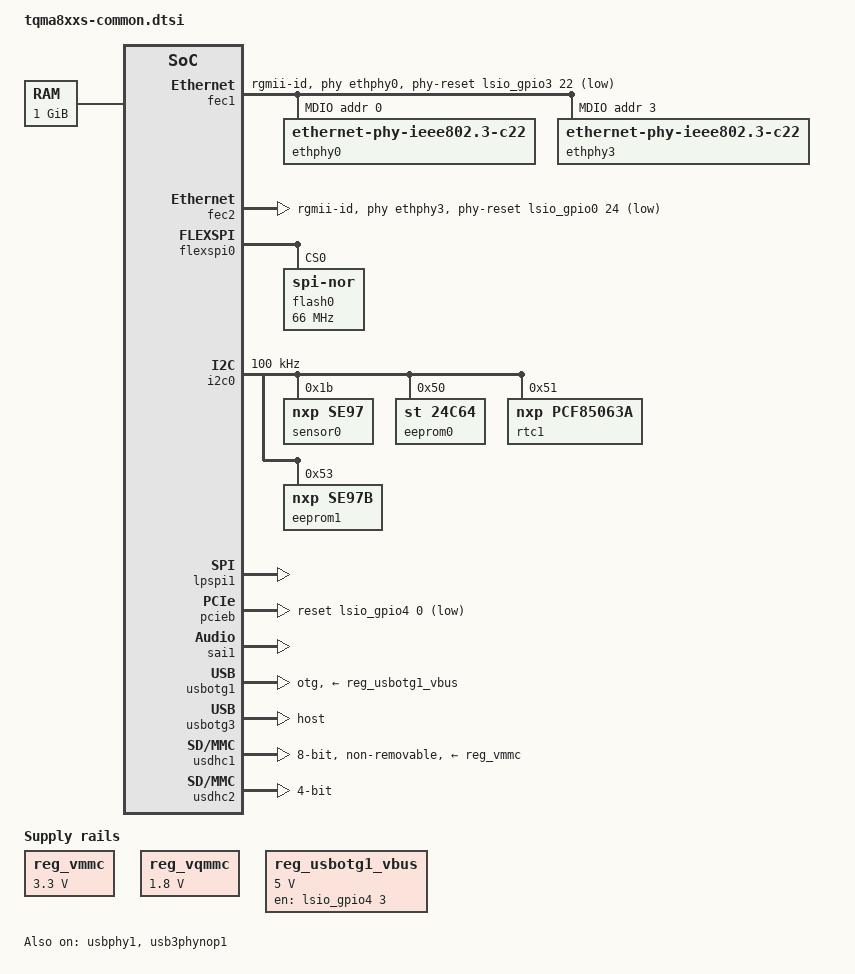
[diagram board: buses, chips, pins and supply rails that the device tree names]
// SPDX-License-Identifier: (GPL-2.0-or-later OR MIT)
/*
 * Copyright 2018-2020 TQ-Systems GmbH
 */

/ {
	backlight_lvds0: backlight-lvds0 {
		compatible = "pwm-backlight";
		pinctrl-names = "default";
		pinctrl-0 = <&pinctrl_backlight_lvds0>;
		pwms = <&pwm_mipi_lvds0 0 100000 0>;
		enable-gpios = <&lsio_gpio1 2 GPIO_ACTIVE_HIGH>;
		status = "disabled";
	};

	backlight_lvds1: backlight-lvds1 {
		compatible = "pwm-backlight";
		pinctrl-names = "default";
		pinctrl-0 = <&pinctrl_backlight_lvds1>;
		pwms = <&pwm_mipi_lvds1 0 100000 0>;
		enable-gpios = <&lsio_gpio1 0 GPIO_ACTIVE_HIGH>;
		status = "disabled";
	};

	panel_lvds0: panel-lvds0 {
		pinctrl-names = "default";
		pinctrl-0 = <&pinctrl_lbdpanel0>;
		backlight = <&backlight_lvds0>;
		enable-gpios = <&lsio_gpio1 3 0>;
		status = "disabled";
	};

	panel_lvds1: panel-lvds1 {
		pinctrl-names = "default";
		pinctrl-0 = <&pinctrl_lbdpanel1>;
		backlight = <&backlight_lvds1>;
		enable-gpios = <&lsio_gpio1 1 0>;
		status = "disabled";
	};

	reg_sdvmmc: regulator-sdvmmc {
		compatible = "regulator-fixed";
		pinctrl-names = "default";
		pinctrl-0 = <&pinctrl_sdvmmc>;
		regulator-name = "SD1_VMMC";
		regulator-min-microvolt = <3300000>;
		regulator-max-microvolt = <3300000>;
		gpio = <&lsio_gpio4 19 GPIO_ACTIVE_HIGH>;
		enable-active-high;
		status = "disabled";
	};

	reg_vmmc: regulator-vmmc {
		compatible = "regulator-fixed";
		regulator-name = "MMC0_3V3";
		regulator-min-microvolt = <3300000>;
		regulator-max-microvolt = <3300000>;
		regulator-always-on;
	};

	reg_vqmmc: regulator-vqmmc {
		compatible = "regulator-fixed";
		regulator-name = "MMC0_1V8";
		regulator-min-microvolt = <1800000>;
		regulator-max-microvolt = <1800000>;
		regulator-always-on;
	};

	reg_usbotg1_vbus: regulator-usbotg1-vbus {
		compatible = "regulator-fixed";
		regulator-name = "USBOTG1_VBUS";
		pinctrl-names = "default";
		pinctrl-0 = <&pinctrl_reg_usbotg1_vbus>;
		regulator-min-microvolt = <5000000>;
		regulator-max-microvolt = <5000000>;
		gpio = <&lsio_gpio4 3 GPIO_ACTIVE_HIGH>;
		enable-active-high;
	};

	memory@80000000 {
		device_type = "memory";
		/*
		 * DRAM base addr, size : 1024 MiB DRAM
		 * should be corrected by bootloader
		 */
		reg = <0x00000000 0x80000000 0 0x40000000>;
	};

	reserved-memory {
		#address-cells = <2>;
		#size-cells = <2>;
		ranges;

		/*
		 * global autoconfigured region for contiguous allocations
		 * must not exceed memory size and region
		 */
		linux,cma {
			compatible = "shared-dma-pool";
			reusable;
			size = <0 0x20000000>;
			alloc-ranges = <0 0x96000000 0 0x30000000>;
			linux,cma-default;
		};
	};

};

&cpu_alert0 {
	temperature = <95000>;
};

&cpu_crit0 {
	temperature = <100000>;
};

&fec1 {
	pinctrl-names = "default";
	pinctrl-0 = <&pinctrl_fec1>;
	phy-mode = "rgmii-id";
	phy-handle = <&ethphy0>;
	phy-reset-gpios = <&lsio_gpio3 22 GPIO_ACTIVE_LOW>;
	phy-reset-duration = <500>;
	fsl,magic-packet;
	mac-address = [ 00 00 00 00 00 00 ];

	mdio {
		#address-cells = <1>;
		#size-cells = <0>;

		ethphy0: ethernet-phy@0 {
			compatible = "ethernet-phy-ieee802.3-c22";
			reg = <0>;
			ti,rx-internal-delay = <DP83867_RGMIIDCTL_2_50_NS>;
			ti,tx-internal-delay = <DP83867_RGMIIDCTL_2_50_NS>;
			ti,fifo-depth = <DP83867_PHYCR_FIFO_DEPTH_4_B_NIB>;
			ti,dp83867-rxctrl-strap-quirk;
			ti,clk-output-sel = <DP83867_CLK_O_SEL_OFF>;
			enet-phy-lane-no-swap;
		};

		ethphy3: ethernet-phy@3 {
			compatible = "ethernet-phy-ieee802.3-c22";
			reg = <3>;
			ti,rx-internal-delay = <DP83867_RGMIIDCTL_2_50_NS>;
			ti,tx-internal-delay = <DP83867_RGMIIDCTL_2_50_NS>;
			ti,fifo-depth = <DP83867_PHYCR_FIFO_DEPTH_4_B_NIB>;
			ti,dp83867-rxctrl-strap-quirk;
			ti,clk-output-sel = <DP83867_CLK_O_SEL_OFF>;
			enet-phy-lane-no-swap;
		};
	};
};

&fec2 {
	pinctrl-names = "default";
	pinctrl-0 = <&pinctrl_fec2>;
	phy-mode = "rgmii-id";
	phy-handle = <&ethphy3>;
	fsl,magic-packet;
	phy-reset-gpios = <&lsio_gpio0 24 GPIO_ACTIVE_LOW>;
	phy-reset-duration = <500>;
	mac-address = [ 00 00 00 00 00 00 ];
};

/* CPU device tree mixes up counting from 0 and counting from 1 */
&flexcan2 {
	pinctrl-names = "default";
	pinctrl-0 = <&pinctrl_can1>;
};

&flexcan3 {
	pinctrl-names = "default";
	pinctrl-0 = <&pinctrl_can2>;
};

&flexspi0 {
	pinctrl-names = "default";
	pinctrl-0 = <&pinctrl_flexspi0>;
	status = "okay";
	fsl,qspi-skip-dll-config;

	flash0: flash@0 {
		reg = <0>;
		#address-cells = <1>;
		#size-cells = <1>;
		compatible = "jedec,spi-nor";
/* TODO: try increase. n.b: MEK doesn't have spi-nor,ddr-quad-read-dummy */
/*		spi-max-frequency = <133000000>; */
		spi-max-frequency = <66000000>;
		spi-nor,ddr-quad-read-dummy = <8>;
		spi-tx-bus-width = <4>;
		spi-rx-bus-width = <4>;
		/* used for macronix flash only */
		macronix,dsr = <0x3>;
	};
};

&lsio_gpio0 {
	pinctrl-names = "default";
	pinctrl-0 = <&pinctrl_smarc_fangpio>;

	gpio-line-names = "", "", "", "",
			  "", "", "", "",
			  "", "", "", "",
			  "", "", "", "",
			  "", "", "", "",
			  "", "SMARC GPIO6", "SMARC GPIO5", "",
			  "", "", "", "",
			  "", "", "", "";
};

&lsio_gpio1 {
	pinctrl-names = "default";
	pinctrl-0 = <&pinctrl_smarc_gpio>;

	gpio-line-names = "", "", "", "",
			  "SMARC GPIO0", "SMARC GPIO1", "SMARC GPIO2", "",
			  "SMARC GPIO3", "SMARC GPIO8", "SMARC GPIO7", "SMARC GPIO10",
			  "SMARC GPIO9", "SMARC GPIO4", "", "",
			  "", "", "", "",
			  "", "", "", "",
			  "", "", "", "",
			  "", "", "", "";
};

&i2c0 {
	#address-cells = <1>;
	#size-cells = <0>;
	clock-frequency = <100000>;
	pinctrl-names = "default";
	pinctrl-0 = <&pinctrl_lpi2c0>;
	status = "okay";

	/* NXP SE97BTP with temperature sensor + eeprom */
	sensor0: tempsensor@1b {
		compatible = "nxp,se97", "jedec,jc-42.4-temp";
		reg = <0x1b>;
		status = "okay";
	};

	eeprom0: eeprom@50 {
		compatible = "st,24c64", "atmel,24c64";
		reg = <0x50>;
		pagesize = <32>;
		status = "okay";
	};

	rtc1: rtc@51 {
		compatible = "nxp,pcf85063a";
		reg = <0x51>;
	};

	eeprom1: eeprom@53 {
		compatible = "nxp,se97b", "atmel,24c02";
		reg = <0x53>;
		pagesize = <16>;
		status = "okay";
	};
};

&iomuxc {
	pinctrl-names = "default";
	pinctrl-0 = <&pinctrl_hog>;

	pinctrl_backlight_lvds0: backlight_lvds0_grp {
		fsl,pins = <
			IMX8QXP_SPI2_SDI_LSIO_GPIO1_IO02	0x00000021
		>;
	};

	pinctrl_backlight_lvds1: backlight_lvds1_grp {
		fsl,pins = <
			IMX8QXP_SPI2_CS0_LSIO_GPIO1_IO00	0x00000021
		>;
	};

	pinctrl_can1: can1grp {
		fsl,pins = <
			IMX8QXP_UART2_RX_ADMA_FLEXCAN1_RX	0x00000020
			IMX8QXP_UART2_TX_ADMA_FLEXCAN1_TX	0x00000021
		>;
	};

	pinctrl_can2: can2grp {
		fsl,pins = <
			IMX8QXP_FLEXCAN2_TX_ADMA_FLEXCAN2_TX	0x00000020
			IMX8QXP_FLEXCAN2_RX_ADMA_FLEXCAN2_RX	0x00000021
		>;
	};

	pinctrl_fec1: fec1grp {
		fsl,pins = <
			IMX8QXP_COMP_CTL_GPIO_1V8_3V3_ENET_ENETB0_PAD		0x000014a0

			IMX8QXP_ENET0_MDC_CONN_ENET0_MDC			0x06000041
			IMX8QXP_ENET0_MDIO_CONN_ENET0_MDIO			0x06000041
			IMX8QXP_ENET0_RGMII_TX_CTL_CONN_ENET0_RGMII_TX_CTL	0x00000040
			IMX8QXP_ENET0_RGMII_TXC_CONN_ENET0_RGMII_TXC		0x00000040
			IMX8QXP_ENET0_RGMII_TXD0_CONN_ENET0_RGMII_TXD0		0x00000040
			IMX8QXP_ENET0_RGMII_TXD1_CONN_ENET0_RGMII_TXD1		0x00000040
			IMX8QXP_ENET0_RGMII_TXD2_CONN_ENET0_RGMII_TXD2		0x00000040
			IMX8QXP_ENET0_RGMII_TXD3_CONN_ENET0_RGMII_TXD3		0x00000040
			IMX8QXP_ENET0_RGMII_RXC_CONN_ENET0_RGMII_RXC		0x00000040
			IMX8QXP_ENET0_RGMII_RX_CTL_CONN_ENET0_RGMII_RX_CTL	0x00000040
			IMX8QXP_ENET0_RGMII_RXD0_CONN_ENET0_RGMII_RXD0		0x00000040
			IMX8QXP_ENET0_RGMII_RXD1_CONN_ENET0_RGMII_RXD1		0x00000040
			IMX8QXP_ENET0_RGMII_RXD2_CONN_ENET0_RGMII_RXD2		0x00000040
			IMX8QXP_ENET0_RGMII_RXD3_CONN_ENET0_RGMII_RXD3		0x00000040

			IMX8QXP_QSPI0B_DQS_LSIO_GPIO3_IO22			0x00000040
		>;
	};

	pinctrl_fec2: fec2grp {
		fsl,pins = <
			IMX8QXP_COMP_CTL_GPIO_1V8_3V3_ENET_ENETB1_PAD	0x000014a0

			IMX8QXP_ESAI0_SCKR_CONN_ENET1_RGMII_TX_CTL	0x00000040
			IMX8QXP_ESAI0_FSR_CONN_ENET1_RGMII_TXC		0x00000040
			IMX8QXP_ESAI0_TX4_RX1_CONN_ENET1_RGMII_TXD0	0x00000040
			IMX8QXP_ESAI0_TX5_RX0_CONN_ENET1_RGMII_TXD1	0x00000040
			IMX8QXP_ESAI0_FST_CONN_ENET1_RGMII_TXD2		0x00000040
			IMX8QXP_ESAI0_SCKT_CONN_ENET1_RGMII_TXD3	0x00000040
			IMX8QXP_ESAI0_TX0_CONN_ENET1_RGMII_RXC		0x00000040
			IMX8QXP_SPDIF0_TX_CONN_ENET1_RGMII_RX_CTL	0x00000040
			IMX8QXP_SPDIF0_RX_CONN_ENET1_RGMII_RXD0		0x00000040
			IMX8QXP_ESAI0_TX3_RX2_CONN_ENET1_RGMII_RXD1	0x00000040
			IMX8QXP_ESAI0_TX2_RX3_CONN_ENET1_RGMII_RXD2	0x00000040
			IMX8QXP_ESAI0_TX1_CONN_ENET1_RGMII_RXD3		0x00000040

			IMX8QXP_UART1_CTS_B_LSIO_GPIO0_IO24		0x00000040
		>;
	};

	pinctrl_flexspi0: flexspi0grp {
		fsl,pins = <
			IMX8QXP_QSPI0A_DATA0_LSIO_QSPI0A_DATA0	0x0000004d
			IMX8QXP_QSPI0A_DATA1_LSIO_QSPI0A_DATA1	0x0000004d
			IMX8QXP_QSPI0A_DATA2_LSIO_QSPI0A_DATA2	0x0000004d
			IMX8QXP_QSPI0A_DATA3_LSIO_QSPI0A_DATA3	0x0000004d
			IMX8QXP_QSPI0A_DQS_LSIO_QSPI0A_DQS	0x0000004d
			IMX8QXP_QSPI0A_SS0_B_LSIO_QSPI0A_SS0_B	0x0000004d
			IMX8QXP_QSPI0A_SCLK_LSIO_QSPI0A_SCLK	0x0000004d
			IMX8QXP_QSPI0B_SCLK_LSIO_QSPI0B_SCLK	0x0000004d
			IMX8QXP_QSPI0B_DATA0_LSIO_QSPI0B_DATA0	0x0000004d
			IMX8QXP_QSPI0B_DATA1_LSIO_QSPI0B_DATA1	0x0000004d
			IMX8QXP_QSPI0B_DATA2_LSIO_QSPI0B_DATA2	0x0000004d
			IMX8QXP_QSPI0B_DATA3_LSIO_QSPI0B_DATA3	0x0000004d
			IMX8QXP_QSPI0B_SS0_B_LSIO_QSPI0B_SS0_B	0x0000004d
			IMX8QXP_QSPI0B_SS1_B_LSIO_QSPI0B_SS1_B	0x0000004d
		>;
	};

	pinctrl_smarc_gpio: smarcgpiogrp {
		fsl,pins = <
			/* SMARC GPIO0 / CAM0_PWR# */
			IMX8QXP_SPI0_SCK_LSIO_GPIO1_IO04	0x00000021
			/* SMARC GPIO1 / CAM1_PWR# */
			IMX8QXP_SPI0_SDI_LSIO_GPIO1_IO05	0x00000021
			/* SMARC GPIO2 / CAM0_RST# */
			IMX8QXP_SPI0_SDO_LSIO_GPIO1_IO06	0x00000021
			/* SMARC GPIO3 / CAM1_RST# */
			IMX8QXP_SPI0_CS0_LSIO_GPIO1_IO08	0x00000021
			/* SMARC GPIO4 / HDA_RST# */
			IMX8QXP_ADC_IN5_LSIO_GPIO1_IO13		0x00000021
			/* SMARC GPIO7 */
			IMX8QXP_ADC_IN0_LSIO_GPIO1_IO10		0x00000021
			/* SMARC GPIO8 */
			IMX8QXP_ADC_IN1_LSIO_GPIO1_IO09		0x00000021
			/* SMARC GPIO9 */
			IMX8QXP_ADC_IN2_LSIO_GPIO1_IO12		0x00000021
			/* SMARC GPIO10 */
			IMX8QXP_ADC_IN3_LSIO_GPIO1_IO11		0x00000021
		>;
	};

	pinctrl_smarc_fangpio: smarcfangpiogrp {
		fsl,pins = <
			/* SMARC GPIO5 */
			IMX8QXP_UART1_RX_LSIO_GPIO0_IO22	0x00000021
			/* SMARC GPIO6 */
			IMX8QXP_UART1_TX_LSIO_GPIO0_IO21	0x00000021
		>;
	};

	pinctrl_hog: tqma8xxshoggrp {
		fsl,pins = <
			/* AUDIO MCLK*/
			IMX8QXP_MCLK_OUT0_ADMA_ACM_MCLK_OUT0	0x06000040
		>;
	};

	pinctrl_lbdpanel0: lbdpanel0grp {
		fsl,pins = <
			/* LCD PWR */
			IMX8QXP_SPI2_SCK_LSIO_GPIO1_IO03	0x00000021
		>;
	};

	pinctrl_lbdpanel1: lbdpanel1grp {
		fsl,pins = <
			/* LCD PWR */
			IMX8QXP_SPI2_SDO_LSIO_GPIO1_IO01	0x00000021
		>;
	};

	pinctrl_lpi2c0: lpi2c0grp {
		fsl,pins = <
			IMX8QXP_MIPI_DSI1_I2C0_SCL_MIPI_DSI1_I2C0_SCL	0x06000021
			IMX8QXP_MIPI_DSI1_I2C0_SDA_MIPI_DSI1_I2C0_SDA	0x06000021
		>;
	};

	pinctrl_lpuart0: lpuart0grp {
		fsl,pins = <
			IMX8QXP_UART0_RX_ADMA_UART0_RX			0x06000020
			IMX8QXP_UART0_TX_ADMA_UART0_TX			0x06000020
		>;
	};

	pinctrl_pcieb: pcieagrp{
		fsl,pins = <
			IMX8QXP_PCIE_CTRL0_PERST_B_LSIO_GPIO4_IO00	0x06000041
			IMX8QXP_PCIE_CTRL0_CLKREQ_B_LSIO_GPIO4_IO01	0x06000041
			IMX8QXP_PCIE_CTRL0_WAKE_B_LSIO_GPIO4_IO02	0x04000041
		>;
	};

	pinctrl_pwm_mipi_lvds0: mipi_lvds0_pwm_grp {
		fsl,pins = <
			IMX8QXP_MIPI_DSI0_GPIO0_00_MIPI_DSI0_PWM0_OUT	0x00000021
		>;
	};

	pinctrl_pwm_mipi_lvds1: mipi_lvds1_pwm_grp {
		fsl,pins = <
			IMX8QXP_MIPI_DSI1_GPIO0_00_MIPI_DSI1_PWM0_OUT	0x00000021
		>;
	};

	pinctrl_usdhc1: usdhc1grp {
		fsl,pins = <
			IMX8QXP_EMMC0_CLK_CONN_EMMC0_CLK	0x06000040
			IMX8QXP_EMMC0_CMD_CONN_EMMC0_CMD	0x00000020
			IMX8QXP_EMMC0_DATA0_CONN_EMMC0_DATA0	0x00000020
			IMX8QXP_EMMC0_DATA1_CONN_EMMC0_DATA1	0x00000020
			IMX8QXP_EMMC0_DATA2_CONN_EMMC0_DATA2	0x00000020
			IMX8QXP_EMMC0_DATA3_CONN_EMMC0_DATA3	0x00000020
			IMX8QXP_EMMC0_DATA4_CONN_EMMC0_DATA4	0x00000020
			IMX8QXP_EMMC0_DATA5_CONN_EMMC0_DATA5	0x00000020
			IMX8QXP_EMMC0_DATA6_CONN_EMMC0_DATA6	0x00000020
			IMX8QXP_EMMC0_DATA7_CONN_EMMC0_DATA7	0x00000020
			IMX8QXP_EMMC0_STROBE_CONN_EMMC0_STROBE	0x00000040
		>;
	};

	pinctrl_usdhc1_100mhz: usdhc1grp100mhz {
		fsl,pins = <
			IMX8QXP_EMMC0_CLK_CONN_EMMC0_CLK	0x06000041
			IMX8QXP_EMMC0_CMD_CONN_EMMC0_CMD	0x00000021
			IMX8QXP_EMMC0_DATA0_CONN_EMMC0_DATA0	0x00000021
			IMX8QXP_EMMC0_DATA1_CONN_EMMC0_DATA1	0x00000021
			IMX8QXP_EMMC0_DATA2_CONN_EMMC0_DATA2	0x00000021
			IMX8QXP_EMMC0_DATA3_CONN_EMMC0_DATA3	0x00000021
			IMX8QXP_EMMC0_DATA4_CONN_EMMC0_DATA4	0x00000021
			IMX8QXP_EMMC0_DATA5_CONN_EMMC0_DATA5	0x00000021
			IMX8QXP_EMMC0_DATA6_CONN_EMMC0_DATA6	0x00000021
			IMX8QXP_EMMC0_DATA7_CONN_EMMC0_DATA7	0x00000021
			IMX8QXP_EMMC0_STROBE_CONN_EMMC0_STROBE	0x00000041
		>;
	};

	pinctrl_usdhc1_200mhz: usdhc1grp200mhz {
		fsl,pins = <
			IMX8QXP_EMMC0_CLK_CONN_EMMC0_CLK	0x06000041
			IMX8QXP_EMMC0_CMD_CONN_EMMC0_CMD	0x00000021
			IMX8QXP_EMMC0_DATA0_CONN_EMMC0_DATA0	0x00000021
			IMX8QXP_EMMC0_DATA1_CONN_EMMC0_DATA1	0x00000021
			IMX8QXP_EMMC0_DATA2_CONN_EMMC0_DATA2	0x00000021
			IMX8QXP_EMMC0_DATA3_CONN_EMMC0_DATA3	0x00000021
			IMX8QXP_EMMC0_DATA4_CONN_EMMC0_DATA4	0x00000021
			IMX8QXP_EMMC0_DATA5_CONN_EMMC0_DATA5	0x00000021
			IMX8QXP_EMMC0_DATA6_CONN_EMMC0_DATA6	0x00000021
			IMX8QXP_EMMC0_DATA7_CONN_EMMC0_DATA7	0x00000021
			IMX8QXP_EMMC0_STROBE_CONN_EMMC0_STROBE	0x00000041
		>;
	};

	pinctrl_sdvmmc: sdvmmcgrp {
		fsl,pins = <
			IMX8QXP_USDHC1_RESET_B_LSIO_GPIO4_IO19		0x00000021
		>;
	};

	pinctrl_reg_usbotg1_vbus: regusbotg1vbusgrp {
		fsl,pins = <
			IMX8QXP_USB_SS3_TC0_LSIO_GPIO4_IO03		0x00000021
		>;
	};

	pinctrl_spi1: spi1grp {
		fsl,pins = <
			/* PU + PDRV Low + INOUT - MEK has 0x0600004c */
			IMX8QXP_SAI0_RXD_ADMA_SPI1_CS0			0x06000041
			IMX8QXP_SAI1_RXD_ADMA_SPI1_CS1			0x06000041
			IMX8QXP_SAI0_TXC_ADMA_SPI1_SDI			0x06000041
			IMX8QXP_SAI0_TXD_ADMA_SPI1_SDO			0x06000041
			IMX8QXP_SAI0_TXFS_ADMA_SPI1_SCK			0x06000041
		>;
	};

	pinctrl_sai1: sai1grp {
		fsl,pins = <
			IMX8QXP_SAI1_RXC_ADMA_SAI1_TXC			0x06000040
			IMX8QXP_SAI1_RXFS_ADMA_SAI1_TXFS		0x06000040
			IMX8QXP_FLEXCAN1_RX_ADMA_SAI1_TXD		0x06000040
			IMX8QXP_FLEXCAN1_TX_ADMA_SAI1_RXD		0x06000040
		>;
	};

	pinctrl_usbotg1: usbotg1grp {
		fsl,pins = <
			IMX8QXP_USB_SS3_TC2_CONN_USB_OTG1_OC		0x00000021
		>;
	};

	pinctrl_usdhc2_gpio: usdhc2gpiogrp {
		fsl,pins = <
			IMX8QXP_USDHC1_WP_LSIO_GPIO4_IO21		0x00000021
			IMX8QXP_USDHC1_CD_B_LSIO_GPIO4_IO22		0x00000021
		>;
	};

	pinctrl_usdhc2: usdhc2grp {
		fsl,pins = <
			IMX8QXP_USDHC1_CLK_CONN_USDHC1_CLK		0x06000041
			IMX8QXP_USDHC1_CMD_CONN_USDHC1_CMD		0x00000021
			IMX8QXP_USDHC1_DATA0_CONN_USDHC1_DATA0		0x00000021
			IMX8QXP_USDHC1_DATA1_CONN_USDHC1_DATA1		0x00000021
			IMX8QXP_USDHC1_DATA2_CONN_USDHC1_DATA2		0x00000021
			IMX8QXP_USDHC1_DATA3_CONN_USDHC1_DATA3		0x00000021
			IMX8QXP_USDHC1_VSELECT_CONN_USDHC1_VSELECT	0x00000021
		>;
	};

	pinctrl_usdhc2_100mhz: usdhc2grp100mhz {
		fsl,pins = <
			IMX8QXP_USDHC1_CLK_CONN_USDHC1_CLK		0x06000040
			IMX8QXP_USDHC1_CMD_CONN_USDHC1_CMD		0x00000020
			IMX8QXP_USDHC1_DATA0_CONN_USDHC1_DATA0		0x00000020
			IMX8QXP_USDHC1_DATA1_CONN_USDHC1_DATA1		0x00000020
			IMX8QXP_USDHC1_DATA2_CONN_USDHC1_DATA2		0x00000020
			IMX8QXP_USDHC1_DATA3_CONN_USDHC1_DATA3		0x00000020
			IMX8QXP_USDHC1_VSELECT_CONN_USDHC1_VSELECT	0x00000020
		>;
	};

	pinctrl_usdhc2_200mhz: usdhc2grp200mhz {
		fsl,pins = <
			IMX8QXP_USDHC1_CLK_CONN_USDHC1_CLK		0x06000040
			IMX8QXP_USDHC1_CMD_CONN_USDHC1_CMD		0x00000020
			IMX8QXP_USDHC1_DATA0_CONN_USDHC1_DATA0		0x00000020
			IMX8QXP_USDHC1_DATA1_CONN_USDHC1_DATA1		0x00000020
			IMX8QXP_USDHC1_DATA2_CONN_USDHC1_DATA2		0x00000020
			IMX8QXP_USDHC1_DATA3_CONN_USDHC1_DATA3		0x00000020
			IMX8QXP_USDHC1_VSELECT_CONN_USDHC1_VSELECT	0x00000020
		>;
	};
};

&lpspi1 {
	pinctrl-names = "default";
	pinctrl-0 = <&pinctrl_spi1>;
	#address-cells = <1>;
	#size-cells = <0>;
	fsl,spi-num-chipselects = <2>;
	status = "okay";
};

&lpuart0 {
	pinctrl-names = "default";
	pinctrl-0 = <&pinctrl_lpuart0>;
};

&pcieb{
	compatible = "fsl,imx8qxp-pcie","snps,dw-pcie";
	pinctrl-names = "default";
	pinctrl-0 = <&pinctrl_pcieb>;
	reset-gpio = <&lsio_gpio4 0 GPIO_ACTIVE_LOW>;
	ext_osc = <1>;
};

&pwm_mipi_lvds0 {
	pinctrl-names = "default";
	pinctrl-0 = <&pinctrl_pwm_mipi_lvds0>;
	status = "disabled";
};

&pwm_mipi_lvds1 {
	pinctrl-names = "default";
	pinctrl-0 = <&pinctrl_pwm_mipi_lvds1>;
	status = "disabled";
};

&sai1 {
	assigned-clocks = <&clk IMX_SC_R_AUDIO_PLL_0 IMX_SC_PM_CLK_PLL>,
			<&clk IMX_SC_R_AUDIO_PLL_0 IMX_SC_PM_CLK_SLV_BUS>,
			<&clk IMX_SC_R_AUDIO_PLL_0 IMX_SC_PM_CLK_MST_BUS>,
			<&sai1_lpcg 0>;
	assigned-clock-rates = <786432000>, <49152000>, <12288000>, <49152000>;
	pinctrl-names = "default";
	pinctrl-0 = <&pinctrl_sai1>;
	status = "okay";
};

&thermal_zones {
	pmic-thermal0 {
		polling-delay-passive = <250>;
		polling-delay = <2000>;
		thermal-sensors = <&tsens 497>;

		trips {
			pmic_alert0: trip0 {
				temperature = <110000>;
				hysteresis = <2000>;
				type = "passive";
			};

			pmic_crit0: trip1 {
				temperature = <125000>;
				hysteresis = <2000>;
				type = "critical";
			};
		};

		cooling-maps {
			map0 {
				trip = <&pmic_alert0>;
				cooling-device =
					<&A35_0 THERMAL_NO_LIMIT THERMAL_NO_LIMIT>,
					<&A35_1 THERMAL_NO_LIMIT THERMAL_NO_LIMIT>,
					<&A35_2 THERMAL_NO_LIMIT THERMAL_NO_LIMIT>,
					<&A35_3 THERMAL_NO_LIMIT THERMAL_NO_LIMIT>;
			};
		};
	};
};

&tsens {
	tsens-num = <2>;
};

&usbphy1 {
	status = "okay";
};

&usbotg1 {
	pinctrl-names = "default";
	pinctrl-0 = <&pinctrl_usbotg1>;
	vbus-supply = <&reg_usbotg1_vbus>;
	srp-disable;
	hnp-disable;
	adp-disable;
	power-active-high;
	over-current-active-low;
	dr_mode = "otg";
};

&usb3phynop1 {
	status = "okay";
};

&usbotg3 {
	dr_mode = "host";
};

&usdhc1 {
	pinctrl-names = "default", "state_100mhz", "state_200mhz";
	pinctrl-0 = <&pinctrl_usdhc1>;
	pinctrl-1 = <&pinctrl_usdhc1_100mhz>;
	pinctrl-2 = <&pinctrl_usdhc1_200mhz>;
	vmmc-supply = <&reg_vmmc>;
	vqmmc-supply = <&reg_vqmmc>;
	bus-width = <8>;
	non-removable;
	no-sd;
	no-sdio;
	status = "okay";
};

&usdhc2 {
	pinctrl-names = "default", "state_100mhz", "state_200mhz";
	pinctrl-0 = <&pinctrl_usdhc2>, <&pinctrl_usdhc2_gpio>;
	pinctrl-1 = <&pinctrl_usdhc2_100mhz>, <&pinctrl_usdhc2_gpio>;
	pinctrl-2 = <&pinctrl_usdhc2_200mhz>, <&pinctrl_usdhc2_gpio>;
	bus-width = <4>;
	/* NOTE: CD / WP and VMMC support depends on mainboard */
};
